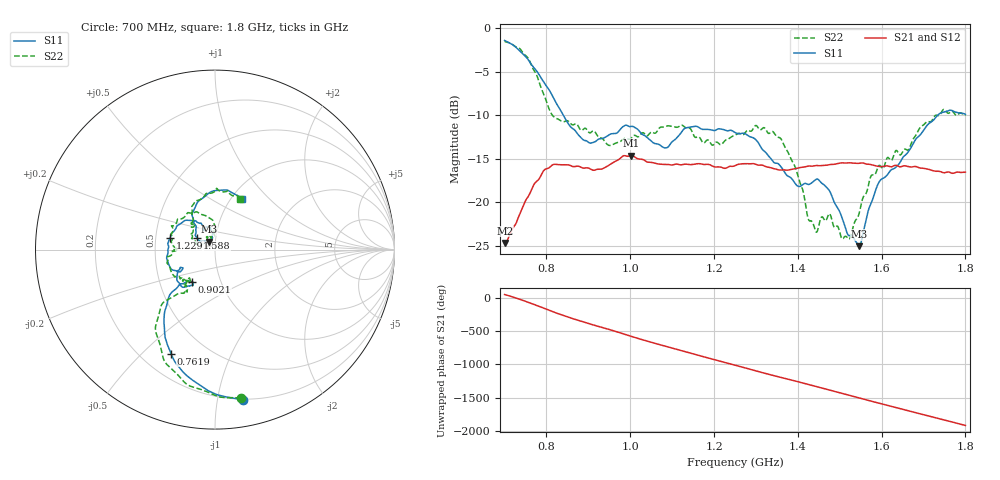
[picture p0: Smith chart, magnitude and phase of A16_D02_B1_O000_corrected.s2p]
! Created with skrf 1.9.0 (http://scikit-rf.org).
# Hz S RI R 50.0
!freq ReS11 ImS11 ReS21 ImS21 ReS12 ImS12 ReS22 ImS22
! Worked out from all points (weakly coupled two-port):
!   1601 points, 700 MHz to 1.8 GHz, reference 50 ohm
!   highest |S21| = -14.61 dB at 1.002 GHz (marker M1); lowest = -24.7 dB at 700.7 MHz (marker M2)
!   lowest |S11| = -25.0 dB at 1.547 GHz (marker M3), VSWR 1.12, Z = 46.4 + j4.08 ohm
!   |S11| at or under -10 dB: 840.2 MHz to 1.733 GHz (893.2 MHz wide, 69.4 % of centre)
!   |S22| runs from -24.2 to -1.5 dB; largest |S21 - S12| = 0.0034
!   S11 on the Smith chart (normalised r, x): 700 MHz: 0.20, -1.19; 761.9 MHz: 0.32, -0.61; 902.1 MHz: 0.73, -0.28; 1.229 GHz: 0.60, +0.09; 1.588 GHz: 0.81, +0.11; 1.8 GHz: 1.12, +0.71
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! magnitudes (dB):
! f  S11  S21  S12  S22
! 700 MHz  -1.4  -24.6  -24.4  -1.5
! 700.7 MHz  -1.4  -24.7  -24.3  -1.5
! 761.9 MHz  -4.0  -18.8  -18.7  -4.0
! 814.1 MHz  -7.8  -15.7  -15.7  -10.0
! 883.6 MHz  -12.6  -16.0  -15.9  -11.7
! 902.1 MHz  -13.2  -16.1  -16.1  -12.0
! 1.002 GHz  -11.3  -14.6  -14.7  -12.6
! 1.067 GHz  -13.3  -15.6  -15.5  -11.6
! 1.138 GHz  -11.4  -15.6  -15.6  -11.5
! 1.229 GHz  -11.8  -16.1  -16.0  -12.8
! 1.25 GHz  -12.0  -15.8  -15.7  -12.3
! 1.3 GHz  -12.8  -15.6  -15.6  -11.2
! 1.359 GHz  -15.8  -16.3  -16.2  -12.6
! 1.4 GHz  -18.1  -16.1  -16.1  -16.9
! 1.434 GHz  -17.7  -15.8  -15.8  -22.2
! 1.473 GHz  -18.5  -15.7  -15.7  -21.4
! 1.521 GHz  -23.8  -15.4  -15.5  -24.2
! 1.547 GHz  -25.0  -15.5  -15.5  -21.1
! 1.588 GHz  -18.3  -15.8  -15.8  -16.4
! 1.617 GHz  -16.6  -15.8  -15.8  -14.9
! 1.737 GHz  -9.9  -16.4  -16.5  -10.0
! 1.8 GHz  -9.9  -16.5  -16.5  -10.0
